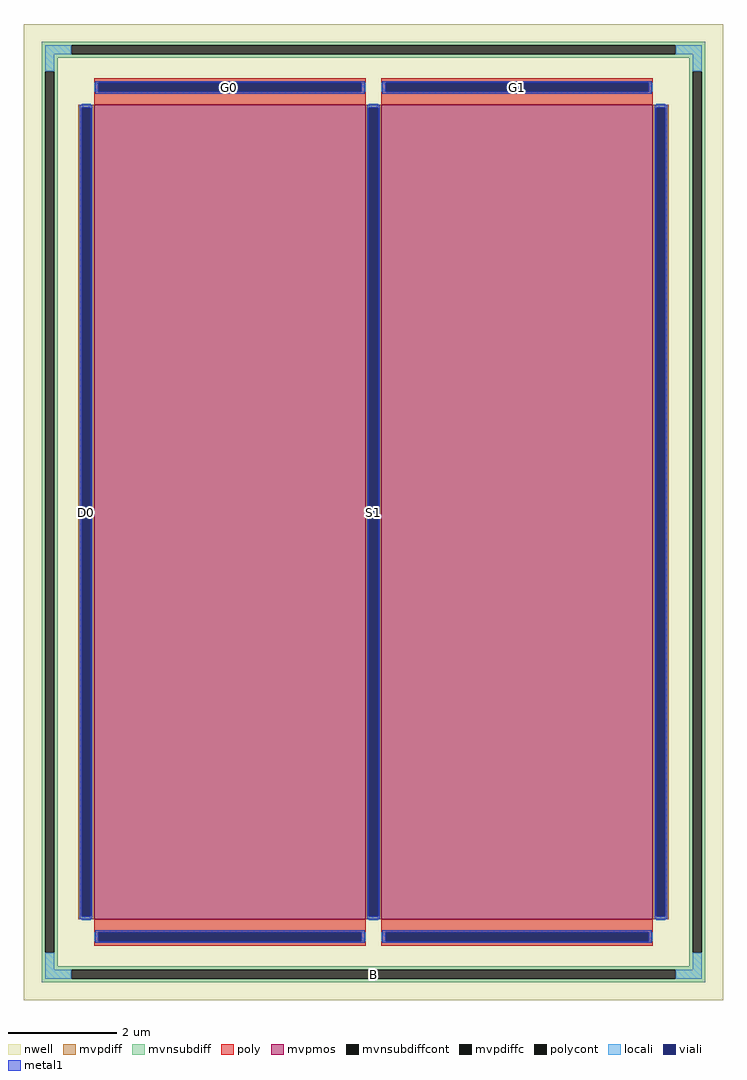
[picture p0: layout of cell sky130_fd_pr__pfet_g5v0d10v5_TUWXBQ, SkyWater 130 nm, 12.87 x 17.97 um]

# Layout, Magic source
magic
tech sky130A
magscale 1 2
<< nwell >>
rect -1287 -1797 1287 1797
<< mvpmos >>
rect -1029 -1500 -29 1500
rect 29 -1500 1029 1500
<< mvpdiff >>
rect -1087 1488 -1029 1500
rect -1087 -1488 -1075 1488
rect -1041 -1488 -1029 1488
rect -1087 -1500 -1029 -1488
rect -29 1488 29 1500
rect -29 -1488 -17 1488
rect 17 -1488 29 1488
rect -29 -1500 29 -1488
rect 1029 1488 1087 1500
rect 1029 -1488 1041 1488
rect 1075 -1488 1087 1488
rect 1029 -1500 1087 -1488
<< mvpdiffc >>
rect -1075 -1488 -1041 1488
rect -17 -1488 17 1488
rect 1041 -1488 1075 1488
<< mvnsubdiff >>
rect -1221 1719 1221 1731
rect -1221 1685 -1113 1719
rect 1113 1685 1221 1719
rect -1221 1673 1221 1685
rect -1221 1623 -1163 1673
rect -1221 -1623 -1209 1623
rect -1175 -1623 -1163 1623
rect 1163 1623 1221 1673
rect -1221 -1673 -1163 -1623
rect 1163 -1623 1175 1623
rect 1209 -1623 1221 1623
rect 1163 -1673 1221 -1623
rect -1221 -1685 1221 -1673
rect -1221 -1719 -1113 -1685
rect 1113 -1719 1221 -1685
rect -1221 -1731 1221 -1719
<< mvnsubdiffcont >>
rect -1113 1685 1113 1719
rect -1209 -1623 -1175 1623
rect 1175 -1623 1209 1623
rect -1113 -1719 1113 -1685
<< poly >>
rect -1029 1581 -29 1597
rect -1029 1547 -1013 1581
rect -45 1547 -29 1581
rect -1029 1500 -29 1547
rect 29 1581 1029 1597
rect 29 1547 45 1581
rect 1013 1547 1029 1581
rect 29 1500 1029 1547
rect -1029 -1547 -29 -1500
rect -1029 -1581 -1013 -1547
rect -45 -1581 -29 -1547
rect -1029 -1597 -29 -1581
rect 29 -1547 1029 -1500
rect 29 -1581 45 -1547
rect 1013 -1581 1029 -1547
rect 29 -1597 1029 -1581
<< polycont >>
rect -1013 1547 -45 1581
rect 45 1547 1013 1581
rect -1013 -1581 -45 -1547
rect 45 -1581 1013 -1547
<< locali >>
rect -1209 1685 -1113 1719
rect 1113 1685 1209 1719
rect -1209 1623 -1175 1685
rect 1175 1623 1209 1685
rect -1029 1547 -1013 1581
rect -45 1547 -29 1581
rect 29 1547 45 1581
rect 1013 1547 1029 1581
rect -1075 1488 -1041 1504
rect -1075 -1504 -1041 -1488
rect -17 1488 17 1504
rect -17 -1504 17 -1488
rect 1041 1488 1075 1504
rect 1041 -1504 1075 -1488
rect -1029 -1581 -1013 -1547
rect -45 -1581 -29 -1547
rect 29 -1581 45 -1547
rect 1013 -1581 1029 -1547
rect -1209 -1685 -1175 -1623
rect 1175 -1685 1209 -1623
rect -1209 -1719 -1113 -1685
rect 1113 -1719 1209 -1685
<< viali >>
rect -1013 1547 -45 1581
rect 45 1547 1013 1581
rect -1075 -1488 -1041 1488
rect -17 -1488 17 1488
rect 1041 -1488 1075 1488
rect -1013 -1581 -45 -1547
rect 45 -1581 1013 -1547
<< metal1 >>
rect -1025 1581 -33 1587
rect -1025 1547 -1013 1581
rect -45 1547 -33 1581
rect -1025 1541 -33 1547
rect 33 1581 1025 1587
rect 33 1547 45 1581
rect 1013 1547 1025 1581
rect 33 1541 1025 1547
rect -1081 1488 -1035 1500
rect -1081 -1488 -1075 1488
rect -1041 -1488 -1035 1488
rect -1081 -1500 -1035 -1488
rect -23 1488 23 1500
rect -23 -1488 -17 1488
rect 17 -1488 23 1488
rect -23 -1500 23 -1488
rect 1035 1488 1081 1500
rect 1035 -1488 1041 1488
rect 1075 -1488 1081 1488
rect 1035 -1500 1081 -1488
rect -1025 -1547 -33 -1541
rect -1025 -1581 -1013 -1547
rect -45 -1581 -33 -1547
rect -1025 -1587 -33 -1581
rect 33 -1547 1025 -1541
rect 33 -1581 45 -1547
rect 1013 -1581 1025 -1547
rect 33 -1587 1025 -1581
<< labels >>
rlabel mvnsubdiffcont 0 -1702 0 -1702 0 B
port 1 nsew
rlabel mvpdiffc -1058 0 -1058 0 0 D0
port 2 nsew
rlabel polycont -529 1564 -529 1564 0 G0
port 3 nsew
rlabel mvpdiffc 0 0 0 0 0 S1
port 4 nsew
rlabel polycont 529 1564 529 1564 0 G1
port 5 nsew
<< properties >>
string FIXED_BBOX -1192 -1702 1192 1702
string gencell sky130_fd_pr__pfet_g5v0d10v5
string library sky130
string parameters w 15 l 5 m 1 nf 2 diffcov 100 polycov 100 guard 1 glc 1 grc 1 gtc 1 gbc 1 tbcov 100 rlcov 100 topc 1 botc 1 poverlap 0 doverlap 1 lmin 0.50 wmin 0.42 class mosfet compatible {sky130_fd_pr__pfet_01v8  sky130_fd_pr__pfet_01v8_lvt sky130_fd_pr__pfet_01v8_hvt  sky130_fd_pr__pfet_g5v0d10v5} full_metal 1 conn_gates 0 viasrc 100 viadrn 100 viagate 100 viagb 0 viagr 0 viagl 0 viagt 0 doports 1
<< end >>
